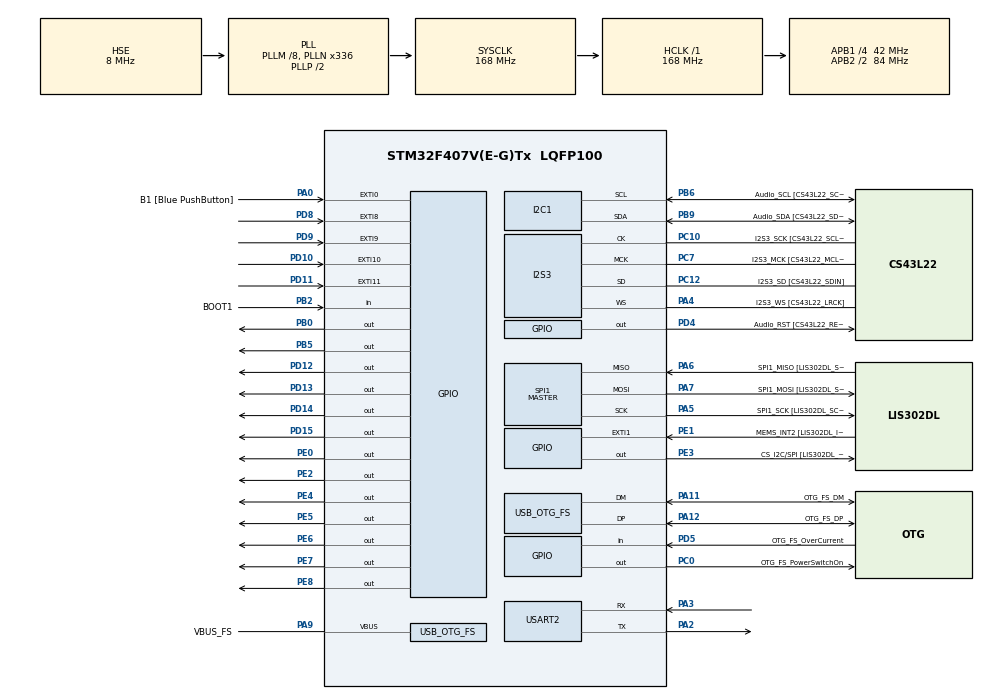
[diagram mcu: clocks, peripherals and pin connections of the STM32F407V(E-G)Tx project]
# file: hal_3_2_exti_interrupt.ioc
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I2S3.AudioFreq-Half_Duplex_Master=I2S_AUDIOFREQ_96K
I2S3.ErrorAudioFreq=-2.34 %
I2S3.ErrorAudioFreq-Half_Duplex_Master=0.8 %
I2S3.FullDuplexMode=I2S_FULLDUPLEXMODE_DISABLE
I2S3.Instance=SPI$Index
I2S3.RealAudioFreq=93.75 KHz
I2S3.RealAudioFreq-Half_Duplex_Master=96.774 KHz
I2S3.VirtualMode=I2S_MODE_MASTER
Mcu.Family=STM32F4
Mcu.Name=STM32F407V(E-G)Tx
Mcu.Package=LQFP100
NVIC.EXTI15_10_IRQn=true\:0\:0\:false\:true\:true\:4\:true\:true
NVIC.EXTI9_5_IRQn=true\:0\:0\:false\:true\:true\:5\:true\:true
NVIC.OTG_FS_IRQn=true\:0\:0\:false\:true\:true\:2\:true\:true
NVIC.PriorityGroup=NVIC_PRIORITYGROUP_0
NVIC.TIM7_IRQn=true\:0\:0\:false\:true\:true\:3\:true\:true
NVIC.USART2_IRQn=true\:0\:0\:false\:true\:true\:1\:true\:true
PA0-WKUP.GPIO_Label=B1 [Blue PushButton]
PA0-WKUP.GPIO_ModeDefaultEXTI=GPIO_MODE_EVT_RISING
PA0-WKUP.GPIO_PuPd=GPIO_NOPULL
PA0-WKUP.Signal=GPXTI0
PA10.GPIO_Label=OTG_FS_ID
PA10.GPIO_Mode=GPIO_MODE_AF_PP
PA10.GPIO_PuPd=GPIO_NOPULL
PA10.GPIO_Speed=GPIO_SPEED_FREQ_LOW
PA10.Signal=USB_OTG_FS_ID
PA11.GPIO_Label=OTG_FS_DM
PA11.GPIO_Mode=GPIO_MODE_AF_PP
PA11.GPIO_PuPd=GPIO_NOPULL
PA11.GPIO_Speed=GPIO_SPEED_FREQ_LOW
PA11.Mode=Host_Only
PA11.Signal=USB_OTG_FS_DM
PA12.GPIO_Label=OTG_FS_DP
PA12.GPIO_Mode=GPIO_MODE_AF_PP
PA12.GPIO_PuPd=GPIO_NOPULL
PA12.GPIO_Speed=GPIO_SPEED_FREQ_LOW
PA12.Mode=Host_Only
PA12.Signal=USB_OTG_FS_DP
PA13.GPIO_Label=SWDIO
PA13.Mode=Serial_Wire
PA13.Signal=SYS_JTMS-SWDIO
PA14.GPIO_Label=SWCLK
PA14.Mode=Serial_Wire
PA14.Signal=SYS_JTCK-SWCLK
PA2.Mode=Asynchronous
PA2.Signal=USART2_TX
PA3.Mode=Asynchronous
PA3.Signal=USART2_RX
PA4.GPIO_Label=I2S3_WS [CS43L22_LRCK]
PA4.GPIO_Mode=GPIO_MODE_AF_PP
PA4.GPIO_PuPd=GPIO_NOPULL
PA4.GPIO_Speed=GPIO_SPEED_FREQ_LOW
PA4.Mode=Half_Duplex_Master
PA4.Signal=I2S3_WS
PA5.GPIO_Label=SPI1_SCK [LIS302DL_SCL/SPC]
PA5.GPIO_Mode=GPIO_MODE_AF_PP
PA5.GPIO_PuPd=GPIO_NOPULL
PA5.GPIO_Speed=GPIO_SPEED_FREQ_LOW
PA5.Mode=Full_Duplex_Master
PA5.Signal=SPI1_SCK
PA6.GPIO_Label=SPI1_MISO [LIS302DL_SDO]
PA6.GPIO_Mode=GPIO_MODE_AF_PP
PA6.GPIO_PuPd=GPIO_NOPULL
PA6.GPIO_Speed=GPIO_SPEED_FREQ_LOW
PA6.Mode=Full_Duplex_Master
PA6.Signal=SPI1_MISO
PA7.GPIO_Label=SPI1_MOSI [LIS302DL_SDA/SDI/SDO]
PA7.GPIO_Mode=GPIO_MODE_AF_PP
PA7.GPIO_PuPd=GPIO_NOPULL
PA7.GPIO_Speed=GPIO_SPEED_FREQ_LOW
PA7.Mode=Full_Duplex_Master
PA7.Signal=SPI1_MOSI
PA9.GPIO_Label=VBUS_FS
PA9.GPIO_Mode=GPIO_MODE_INPUT
PA9.GPIO_PuPd=GPIO_NOPULL
PA9.Mode=Activate_VBUS
PA9.Signal=USB_OTG_FS_VBUS
PB0.Signal=GPIO_Output
PB10.GPIO_Label=CLK_IN [MP45DT02_CLK]
PB10.GPIO_Mode=GPIO_MODE_AF_PP
PB10.GPIO_PuPd=GPIO_NOPULL
PB10.GPIO_Speed=GPIO_SPEED_FREQ_LOW
PB10.Signal=I2S2_CK
PB2.GPIO_Label=BOOT1
PB2.GPIO_Mode=GPIO_MODE_INPUT
PB2.GPIO_PuPd=GPIO_NOPULL
PB2.Signal=GPIO_Input
PB3.GPIO_Label=SWO
PB3.Signal=SYS_JTDO-SWO
PB5.Signal=GPIO_Output
PB6.GPIO_Label=Audio_SCL [CS43L22_SCL]
PB6.GPIO_Mode=GPIO_MODE_AF_OD
PB6.GPIO_PuPd=GPIO_NOPULL
PB6.GPIO_Speed=GPIO_SPEED_FREQ_LOW
PB6.Mode=I2C
PB6.Signal=I2C1_SCL
PB9.GPIO_Label=Audio_SDA [CS43L22_SDA]
PB9.GPIO_Mode=GPIO_MODE_AF_OD
PB9.GPIO_PuPd=GPIO_NOPULL
PB9.GPIO_Speed=GPIO_SPEED_FREQ_LOW
PB9.Mode=I2C
PB9.Signal=I2C1_SDA
PC0.GPIO_Label=OTG_FS_PowerSwitchOn
PC0.GPIO_PuPd=GPIO_NOPULL
PC0.GPIO_Speed=GPIO_SPEED_FREQ_LOW
PC0.PinState=GPIO_PIN_SET
PC0.Signal=GPIO_Output
PC10.GPIO_Label=I2S3_SCK [CS43L22_SCLK]
PC10.GPIO_Mode=GPIO_MODE_AF_PP
PC10.GPIO_PuPd=GPIO_NOPULL
PC10.GPIO_Speed=GPIO_SPEED_FREQ_LOW
PC10.Mode=Half_Duplex_Master
PC10.Signal=I2S3_CK
PC12.GPIO_Label=I2S3_SD [CS43L22_SDIN]
PC12.GPIO_Mode=GPIO_MODE_AF_PP
PC12.GPIO_PuPd=GPIO_NOPULL
PC12.GPIO_Speed=GPIO_SPEED_FREQ_LOW
PC12.Mode=Half_Duplex_Master
PC12.Signal=I2S3_SD
PC14-OSC32_IN.GPIO_Label=PC14-OSC32_IN
PC14-OSC32_IN.Mode=LSE-External-Oscillator
PC14-OSC32_IN.Signal=RCC_OSC32_IN
PC15-OSC32_OUT.GPIO_Label=PC15-OSC32_OUT
PC15-OSC32_OUT.Mode=LSE-External-Oscillator
PC15-OSC32_OUT.Signal=RCC_OSC32_OUT
PC3.GPIO_Label=PDM_OUT [MP45DT02_DOUT]
PC3.GPIO_Mode=GPIO_MODE_AF_PP
PC3.GPIO_PuPd=GPIO_NOPULL
PC3.GPIO_Speed=GPIO_SPEED_FREQ_LOW
PC3.Signal=I2S2_SD
PC7.GPIO_Label=I2S3_MCK [CS43L22_MCLK]
PC7.GPIO_Mode=GPIO_MODE_AF_PP
PC7.GPIO_PuPd=GPIO_NOPULL
PC7.GPIO_Speed=GPIO_SPEED_FREQ_LOW
PC7.Mode=Master_Clock_Activated
PC7.Signal=I2S3_MCK
PD10.Signal=GPXTI10
PD11.Signal=GPXTI11
PD12.GPIO_PuPd=GPIO_NOPULL
PD12.GPIO_Speed=GPIO_SPEED_FREQ_LOW
PD12.Signal=GPIO_Output
PD13.GPIO_PuPd=GPIO_NOPULL
PD13.GPIO_Speed=GPIO_SPEED_FREQ_LOW
PD13.Signal=GPIO_Output
PD14.GPIO_PuPd=GPIO_NOPULL
PD14.GPIO_Speed=GPIO_SPEED_FREQ_LOW
PD14.Signal=GPIO_Output
PD15.GPIO_PuPd=GPIO_NOPULL
PD15.GPIO_Speed=GPIO_SPEED_FREQ_LOW
PD15.Signal=GPIO_Output
PD4.GPIO_Label=Audio_RST [CS43L22_RESET]
PD4.GPIO_PuPd=GPIO_NOPULL
PD4.GPIO_Speed=GPIO_SPEED_FREQ_LOW
PD4.Signal=GPIO_Output
PD5.GPIO_Label=OTG_FS_OverCurrent
PD5.GPIO_Mode=GPIO_MODE_INPUT
PD5.GPIO_PuPd=GPIO_NOPULL
PD5.Signal=GPIO_Input
PD8.Signal=GPXTI8
PD9.Signal=GPXTI9
PE0.Signal=GPIO_Output
PE1.GPIO_Label=MEMS_INT2 [LIS302DL_INT2]
PE1.GPIO_ModeDefaultEXTI=GPIO_MODE_EVT_RISING
PE1.GPIO_PuPd=GPIO_NOPULL
PE1.Signal=GPXTI1
PE2.Signal=GPIO_Output
PE3.GPIO_Label=CS_I2C/SPI [LIS302DL_CS_I2C/SPI]
PE3.GPIO_PuPd=GPIO_NOPULL
PE3.GPIO_Speed=GPIO_SPEED_FREQ_LOW
PE3.Signal=GPIO_Output
PE4.Signal=GPIO_Output
PE5.Signal=GPIO_Output
PE6.Signal=GPIO_Output
PE7.Signal=GPIO_Output
PE8.Signal=GPIO_Output
PH0-OSC_IN.GPIO_Label=PH0-OSC_IN
PH0-OSC_IN.Mode=HSE-External-Oscillator
PH0-OSC_IN.Signal=RCC_OSC_IN
PH1-OSC_OUT.GPIO_Label=PH1-OSC_OUT
PH1-OSC_OUT.Mode=HSE-External-Oscillator
PH1-OSC_OUT.Signal=RCC_OSC_OUT
ProjectManager.HeapSize=0x200
ProjectManager.StackSize=0x400
ProjectManager.TargetToolchain=STM32CubeIDE
RCC.48MHZClocksFreq_Value=48000000
RCC.AHBFreq_Value=168000000
RCC.APB1CLKDivider=RCC_HCLK_DIV4
RCC.APB1Freq_Value=42000000
RCC.APB1TimFreq_Value=84000000
RCC.APB2CLKDivider=RCC_HCLK_DIV2
RCC.APB2Freq_Value=84000000
RCC.APB2TimFreq_Value=168000000
RCC.CortexFreq_Value=168000000
RCC.HCLKFreq_Value=168000000
RCC.HSE_VALUE=8000000
RCC.HSI_VALUE=16000000
RCC.PLLM=8
RCC.PLLN=336
RCC.PLLQ=7
RCC.SYSCLKFreq_VALUE=168000000
RCC.SYSCLKSource=RCC_SYSCLKSOURCE_PLLCLK
RCC.VCOOutputFreq_Value=336000000
SPI1.BaudRatePrescaler-Full_Duplex_Master=SPI_BAUDRATEPRESCALER_2
SPI1.CalculateBaudRate-Full_Duplex_Master=42.0 MBits/s
SPI1.Direction=SPI_DIRECTION_2LINES
SPI1.Mode=SPI_MODE_MASTER
SPI1.Mode-Full_Duplex_Master=SPI_MODE_MASTER
SPI1.VirtualType=VM_MASTER
TIM7.Period=8399
TIM7.Prescaler=9999
USART2.VirtualMode=VM_ASYNC
USB_HOST.BSP.number=1
USB_HOST.USBH_HandleTypeDef-CDC_FS=hUsbHostFS
USB_HOST.VirtualModeFS=Cdc
USB_HOST0.BSP.STBoard=false
USB_HOST0.BSP.api=Unknown
USB_HOST0.BSP.i2caddr=0
USB_HOST0.BSP.i2creg=0
USB_HOST0.BSP.instance=PC0
USB_HOST0.BSP.ip=GPIO
USB_HOST0.BSP.mode=Output
USB_HOST0.BSP.name=Drive_VBUS_FS
USB_HOST0.BSP.solution=PC0
USB_OTG_FS.VirtualMode=Host_Only
USB_OTG_FS.phy_itface=HCD_PHY_EMBEDDED
VP_TIM7_VS_ClockSourceINT.Mode=Enable_Timer
VP_USB_HOST_VS_USB_HOST_CDC_FS.Mode=CDC_FS
board=STM32F407G-DISC1

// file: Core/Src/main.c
/* USER CODE BEGIN Header */
/**
 ******************************************************************************
 * @file           : main.c
 * @brief          : Main program body
 ******************************************************************************
 * @attention
 *
 * <h2><center>&copy; Copyright (c) 2020 STMicroelectronics.
 * All rights reserved.</center></h2>
 *
 * This software component is licensed by ST under Ultimate Liberty license
 * SLA0044, the "License"; You may not use this file except in compliance with
 * the License. You may obtain a copy of the License at:
 *                             www.st.com/SLA0044
 *
 ******************************************************************************
 */
/* USER CODE END Header */

#include "main.h"
#include "i2c.h"
#include "i2s.h"
#include "spi.h"
#include "tim.h"
#include "usart.h"
#include "usb_host.h"
#include "gpio.h"

/* USER CODE BEGIN Includes */
#include <stdio.h>
/* USER CODE END Includes */

/* USER CODE BEGIN PV */
uint8_t rx2_data[10];

/* USER CODE END PV */

void SystemClock_Config(void);
static void MX_NVIC_Init(void);
void MX_USB_HOST_Process(void);

/* USER CODE BEGIN PFP */

int _write(int file, char *p, int len) {
	HAL_UART_Transmit(&huart2, p, len, 10);
	return len;
}

/* USER CODE END PFP */

int main(void)
{

	/* MCU Configuration--------------------------------------------------------*/

	/* Reset of all peripherals, Initializes the Flash interface and the Systick. */
	HAL_Init();

	/* Configure the system clock */
	SystemClock_Config();

	/* Initialize all configured peripherals */
	MX_GPIO_Init();
	MX_I2C1_Init();
	MX_I2S3_Init();
	MX_SPI1_Init();
	MX_USB_HOST_Init();
	MX_USART2_UART_Init();
	MX_TIM7_Init();

	/* Initialize interrupts */
	MX_NVIC_Init();
	/* USER CODE BEGIN 2 */
	HAL_GPIO_WritePin(GPIOB, GPIO_PIN_0, GPIO_PIN_SET);
	HAL_GPIO_WritePin(GPIOB, GPIO_PIN_5, GPIO_PIN_SET);
	HAL_GPIO_WritePin(GPIOD, GPIO_PIN_15, GPIO_PIN_SET);

	//UART2 RX Interrupt
	HAL_UART_Receive_IT(&huart2, &rx2_data, 10);
	HAL_TIM_Base_Start_IT(&htim7);

	/* USER CODE END 2 */

	/* Infinite loop */
	/* USER CODE BEGIN WHILE */
	uint8_t a = 'a';
	float f = 1.234;
	while (1)
	{
		//		printf("Hello %d\n", a++);
		//		HAL_Delay(1000);
		//		if(HAL_GPIO_ReadPin(GPIOA, GPIO_PIN_0) == GPIO_PIN_SET) {
		//			HAL_GPIO_WritePin(GPIOD, GPIO_PIN_15, GPIO_PIN_SET);
		//		}
		//		else {
		//			HAL_GPIO_WritePin(GPIOD, GPIO_PIN_15, GPIO_PIN_RESET);
		//		}
		//		HAL_GPIO_WritePin(GPIOD, GPIO_PIN_12, GPIO_PIN_SET);
		//		HAL_GPIO_WritePin(GPIOD, GPIO_PIN_13, GPIO_PIN_SET);
		//		HAL_GPIO_WritePin(GPIOD, GPIO_PIN_14, GPIO_PIN_SET);
		//
		//		HAL_Delay(1000);
		//
		//		HAL_GPIO_WritePin(GPIOD, GPIO_PIN_12, GPIO_PIN_RESET);
		//		HAL_GPIO_WritePin(GPIOD, GPIO_PIN_13, GPIO_PIN_RESET);
		//		HAL_GPIO_WritePin(GPIOD, GPIO_PIN_14, GPIO_PIN_RESET);
		//
		//		HAL_Delay(1000);

		//		if(HAL_UART_Receive(&huart2, &a, 1, 10) == HAL_OK) {
		//			HAL_UART_Transmit(&huart2, &a, 1, 10);
		//		}
		/* USER CODE END WHILE */
		MX_USB_HOST_Process();

	}
}

void SystemClock_Config(void)
{
	RCC_OscInitTypeDef RCC_OscInitStruct = {0};
	RCC_ClkInitTypeDef RCC_ClkInitStruct = {0};
	RCC_PeriphCLKInitTypeDef PeriphClkInitStruct = {0};

	/** Configure the main internal regulator output voltage
	 */
	__HAL_RCC_PWR_CLK_ENABLE();
	__HAL_PWR_VOLTAGESCALING_CONFIG(PWR_REGULATOR_VOLTAGE_SCALE1);
	/** Initializes the CPU, AHB and APB busses clocks
	 */
	RCC_OscInitStruct.OscillatorType = RCC_OSCILLATORTYPE_HSE;
	RCC_OscInitStruct.HSEState = RCC_HSE_ON;
	RCC_OscInitStruct.PLL.PLLState = RCC_PLL_ON;
	RCC_OscInitStruct.PLL.PLLSource = RCC_PLLSOURCE_HSE;
	RCC_OscInitStruct.PLL.PLLM = 8;
	RCC_OscInitStruct.PLL.PLLN = 336;
	RCC_OscInitStruct.PLL.PLLP = RCC_PLLP_DIV2;
	RCC_OscInitStruct.PLL.PLLQ = 7;
	if (HAL_RCC_OscConfig(&RCC_OscInitStruct) != HAL_OK)
	{
		Error_Handler();
	}
	/** Initializes the CPU, AHB and APB busses clocks
	 */
	RCC_ClkInitStruct.ClockType = RCC_CLOCKTYPE_HCLK|RCC_CLOCKTYPE_SYSCLK
			|RCC_CLOCKTYPE_PCLK1|RCC_CLOCKTYPE_PCLK2;
	RCC_ClkInitStruct.SYSCLKSource = RCC_SYSCLKSOURCE_PLLCLK;
	RCC_ClkInitStruct.AHBCLKDivider = RCC_SYSCLK_DIV1;
	RCC_ClkInitStruct.APB1CLKDivider = RCC_HCLK_DIV4;
	RCC_ClkInitStruct.APB2CLKDivider = RCC_HCLK_DIV2;

	if (HAL_RCC_ClockConfig(&RCC_ClkInitStruct, FLASH_LATENCY_5) != HAL_OK)
	{
		Error_Handler();
	}
	PeriphClkInitStruct.PeriphClockSelection = RCC_PERIPHCLK_I2S;
	PeriphClkInitStruct.PLLI2S.PLLI2SN = 192;
	PeriphClkInitStruct.PLLI2S.PLLI2SR = 2;
	if (HAL_RCCEx_PeriphCLKConfig(&PeriphClkInitStruct) != HAL_OK)
	{
		Error_Handler();
	}
}

/**
 * @brief NVIC Configuration.
 * @retval None
 */
static void MX_NVIC_Init(void)
{
	/* USART2_IRQn interrupt configuration */
	HAL_NVIC_SetPriority(USART2_IRQn, 0, 0);
	HAL_NVIC_EnableIRQ(USART2_IRQn);
	/* OTG_FS_IRQn interrupt configuration */
	HAL_NVIC_SetPriority(OTG_FS_IRQn, 0, 0);
	HAL_NVIC_EnableIRQ(OTG_FS_IRQn);
	/* TIM7_IRQn interrupt configuration */
	HAL_NVIC_SetPriority(TIM7_IRQn, 0, 0);
	HAL_NVIC_EnableIRQ(TIM7_IRQn);
	/* EXTI15_10_IRQn interrupt configuration */
	HAL_NVIC_SetPriority(EXTI15_10_IRQn, 0, 0);
	HAL_NVIC_EnableIRQ(EXTI15_10_IRQn);
	/* EXTI9_5_IRQn interrupt configuration */
	HAL_NVIC_SetPriority(EXTI9_5_IRQn, 0, 0);
	HAL_NVIC_EnableIRQ(EXTI9_5_IRQn);
}

/* USER CODE BEGIN 4 */
void HAL_UART_RxCpltCallback(UART_HandleTypeDef *huart) {
	if (huart -> Instance == USART2) {
		HAL_UART_Receive_IT(&huart2, &rx2_data, 10);
		HAL_UART_Transmit(&huart2, &rx2_data, 1, 10);
	}
}

void HAL_TIM_PeriodElapsedCallback(TIM_HandleTypeDef *htim) {
	if (htim -> Instance == TIM7) {
		HAL_GPIO_TogglePin(GPIOD, GPIO_PIN_12);
	}
}

void HAL_GPIO_EXTI_Callback(uint16_t GPIO_Pin) {
	if (GPIO_Pin == GPIO_PIN_8) {
		HAL_GPIO_TogglePin(GPIOB, GPIO_PIN_0);
	}
	if (GPIO_Pin == GPIO_PIN_9) {
		HAL_GPIO_TogglePin(GPIOB, GPIO_PIN_5);
	}
	if (GPIO_Pin == GPIO_PIN_10) {
		HAL_GPIO_TogglePin(GPIOB, GPIO_PIN_0);
	}
	if (GPIO_Pin == GPIO_PIN_11) {
		HAL_GPIO_TogglePin(GPIOB, GPIO_PIN_5);
	}
}

/* USER CODE END 4 */

void Error_Handler(void)
{
}

/************************ (C) COPYRIGHT STMicroelectronics *****END OF FILE****/
